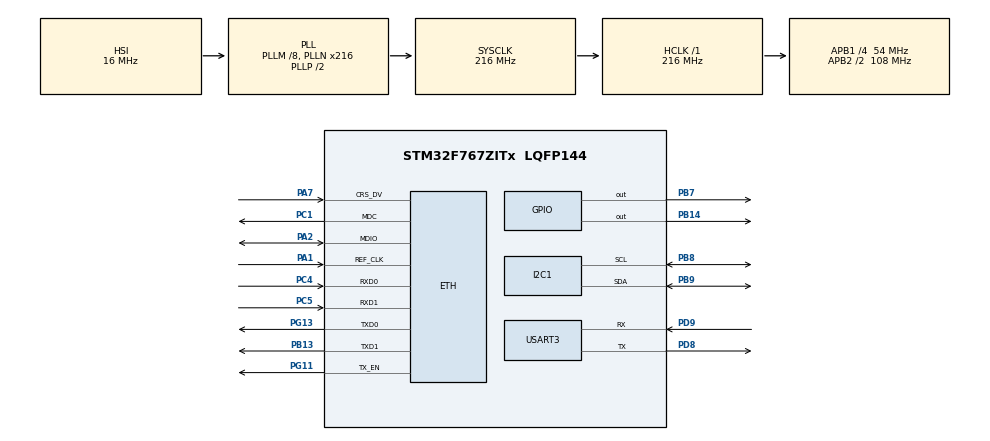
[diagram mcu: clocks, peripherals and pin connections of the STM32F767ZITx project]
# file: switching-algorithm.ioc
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CORTEX_M7.CPU_DCache=Disabled
CORTEX_M7.CPU_ICache=Disabled
CORTEX_M7.default_mode_Activation=1
Dma.I2C1_RX.0.Direction=DMA_PERIPH_TO_MEMORY
Dma.I2C1_RX.0.FIFOMode=DMA_FIFOMODE_DISABLE
Dma.I2C1_RX.0.Instance=DMA1_Stream0
Dma.I2C1_RX.0.MemDataAlignment=DMA_MDATAALIGN_BYTE
Dma.I2C1_RX.0.MemInc=DMA_MINC_ENABLE
Dma.I2C1_RX.0.Mode=DMA_NORMAL
Dma.I2C1_RX.0.PeriphDataAlignment=DMA_PDATAALIGN_BYTE
Dma.I2C1_RX.0.PeriphInc=DMA_PINC_DISABLE
Dma.I2C1_RX.0.Priority=DMA_PRIORITY_LOW
Dma.I2C1_TX.1.Direction=DMA_MEMORY_TO_PERIPH
Dma.I2C1_TX.1.FIFOMode=DMA_FIFOMODE_DISABLE
Dma.I2C1_TX.1.Instance=DMA1_Stream6
Dma.I2C1_TX.1.MemDataAlignment=DMA_MDATAALIGN_BYTE
Dma.I2C1_TX.1.MemInc=DMA_MINC_ENABLE
Dma.I2C1_TX.1.Mode=DMA_NORMAL
Dma.I2C1_TX.1.PeriphDataAlignment=DMA_PDATAALIGN_BYTE
Dma.I2C1_TX.1.PeriphInc=DMA_PINC_DISABLE
Dma.I2C1_TX.1.Priority=DMA_PRIORITY_LOW
Dma.Request0=I2C1_RX
Dma.Request1=I2C1_TX
ETH.MediaInterface=HAL_ETH_RMII_MODE
FREERTOS.Tasks01=defaultTask,2,256,StartDefaultTask,Default,NULL,Dynamic,NULL,NULL;eth_task,-1,1024,eth_taskENTRY,Default,NULL,Dynamic,NULL,NULL
FREERTOS.configTOTAL_HEAP_SIZE=32000
I2C1.Timing=0x20404768
LWIP.BSP.number=1
LWIP.IP_ADDRESS=192.168.000.010
LWIP.LWIP_COMPAT_SOCKETS=0
LWIP.LWIP_DHCP=0
LWIP.LWIP_STATS=1
LWIP.LWIP_STATS_DISPLAY=1
LWIP.NETMASK_ADDRESS=255.255.255.000
LWIP.Version=v2.1.2_Cube
LWIP0.BSP.STBoard=false
LWIP0.BSP.api=BSP_COMPONENT_DRIVER
LWIP0.BSP.component=LAN8742
LWIP0.BSP.instance=LAN8742
LWIP0.BSP.name=Driver_PHY
LWIP0.BSP.semaphore=S_LAN8742
LWIP0.BSP.solution=LAN8742
Mcu.Family=STM32F7
Mcu.Name=STM32F767ZITx
Mcu.Package=LQFP144
NVIC.DMA1_Stream0_IRQn=true\:5\:0\:false\:false\:true\:true\:false\:true\:true
NVIC.DMA1_Stream6_IRQn=true\:5\:0\:false\:false\:true\:true\:false\:true\:true
NVIC.ETH_IRQn=true\:5\:0\:false\:false\:true\:true\:true\:true\:true
NVIC.I2C1_ER_IRQn=true\:5\:0\:false\:false\:true\:true\:true\:true\:true
NVIC.I2C1_EV_IRQn=true\:5\:0\:false\:false\:true\:true\:true\:true\:true
NVIC.PriorityGroup=NVIC_PRIORITYGROUP_4
NVIC.TIM1_UP_TIM10_IRQn=true\:15\:0\:false\:false\:true\:false\:false\:true\:true
NVIC.TimeBase=TIM1_UP_TIM10_IRQn
NVIC.TimeBaseIP=TIM1
PA1.Mode=RMII
PA1.Signal=ETH_REF_CLK
PA2.Mode=RMII
PA2.Signal=ETH_MDIO
PA7.Mode=RMII
PA7.Signal=ETH_CRS_DV
PB13.Mode=RMII
PB13.Signal=ETH_TXD1
PB14.Signal=GPIO_Output
PB7.Signal=GPIO_Output
PB8.GPIO_Pu=GPIO_PULLUP
PB8.Mode=I2C
PB8.Signal=I2C1_SCL
PB9.GPIO_Pu=GPIO_PULLUP
PB9.Mode=I2C
PB9.Signal=I2C1_SDA
PC1.Mode=RMII
PC1.Signal=ETH_MDC
PC4.Mode=RMII
PC4.Signal=ETH_RXD0
PC5.Mode=RMII
PC5.Signal=ETH_RXD1
PD8.Mode=Asynchronous
PD8.Signal=USART3_TX
PD9.Mode=Asynchronous
PD9.Signal=USART3_RX
PG11.Mode=RMII
PG11.Signal=ETH_TX_EN
PG13.Mode=RMII
PG13.Signal=ETH_TXD0
PH0/OSC_IN.Mode=HSE-External-Clock-Source
PH0/OSC_IN.Signal=RCC_OSC_IN
PH1/OSC_OUT.Mode=HSE-External-Clock-Source
PH1/OSC_OUT.Signal=RCC_OSC_OUT
ProjectManager.HeapSize=0x200
ProjectManager.StackSize=0x400
ProjectManager.TargetToolchain=STM32CubeIDE
RCC.AHBFreq_Value=216000000
RCC.APB1CLKDivider=RCC_HCLK_DIV4
RCC.APB1Freq_Value=54000000
RCC.APB1TimFreq_Value=108000000
RCC.APB2CLKDivider=RCC_HCLK_DIV2
RCC.APB2Freq_Value=108000000
RCC.APB2TimFreq_Value=216000000
RCC.CortexFreq_Value=216000000
RCC.HCLKFreq_Value=216000000
RCC.HSE_VALUE=25000000
RCC.HSI_VALUE=16000000
RCC.LSE_VALUE=32768
RCC.PLLM=8
RCC.PLLN=216
RCC.SYSCLKFreq_VALUE=216000000
RCC.SYSCLKSource=RCC_SYSCLKSOURCE_PLLCLK
RCC.USBFreq_Value=216000000
RCC.VCOOutputFreq_Value=432000000
USART3.VirtualMode-Asynchronous=VM_ASYNC
VP_FREERTOS_VS_CMSIS_V1.Mode=CMSIS_V1
VP_LWIP_VS_Enabled.Mode=Enabled
VP_SYS_VS_tim1.Mode=TIM1
board=custom

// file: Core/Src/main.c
/* USER CODE BEGIN Header */
/**
  ******************************************************************************
  * @file           : main.c
  * @brief          : Main program body
  ******************************************************************************
  */
/* USER CODE END Header */
#include "main.h"
#include "cmsis_os.h"
#include "lwip.h"

/* USER CODE BEGIN Includes */
#include "lwip/sockets.h"
#include "lwip/netdb.h"
#include "lwip/opt.h"
#include "lwip/sys.h"
#include "lwip/stats.h"
#include "lwip/udp.h"
#include "d_decision.h"
#include <stdio.h>
#include <string.h>
#include "drv_bt.h"
#include "com_int.h"
#include "d_decision.h"
#include "link_types.h"
#include "drv_rs485.h"
#include "eth_parser.h"
#include "eth_metrics.h"
#include "eth_rx_types.h"
#include "lwip/netif.h"
#include "lwip/ip4_addr.h"
extern struct netif gnetif;
/* USER CODE END Includes */

/* USER CODE BEGIN PD */
extern ETH_DMADescTypeDef DMARxDscrTab[ETH_RXBUFNB];
extern ETH_DMADescTypeDef DMATxDscrTab[ETH_TXBUFNB];
extern ETH_HandleTypeDef heth;
extern ComInterface_t EthernetInterface;

/* USER CODE END PD */

/* USER CODE BEGIN PM */
static uint8_t i2c_rx_buf[32];
/* USER CODE END PM */

static osThreadId g_i2c_task_handle = NULL;
I2C_HandleTypeDef hi2c1;
DMA_HandleTypeDef hdma_i2c1_rx;
DMA_HandleTypeDef hdma_i2c1_tx;

UART_HandleTypeDef huart3;

osThreadId defaultTaskHandle;
osThreadId eth_taskHandle;
/* USER CODE BEGIN PV */
static uint8_t g_rs485_ready = 0U;
static struct udp_pcb *g_rx_pcb = NULL;
static volatile uint8_t g_i2c_rx_done = 0;
static volatile uint16_t i2c_rx_buf_len = 0;
static rx_metrics_t g_rx_direct;
static rx_metrics_t g_rx_plc;
static rx_metrics_t g_rx_bt;
static rx_metrics_t g_rx_rs485;
link_info_t g_links[DECISION_MAX_LINKS];
decision_config_t g_decision_cfg;
decision_result_t g_last_decision;
osThreadId rs_taskHandle;

rs485_if_t g_rs485;
static link_type_t g_active_link = LINK_ETH_DIRECT;
static uint32_t g_last_switch_tick = 0U;

/* USER CODE END PV */

void SystemClock_Config(void);
static void MPU_Config(void);
static void MX_GPIO_Init(void);
static void MX_DMA_Init(void);
static void MX_USART3_UART_Init(void);
static void MX_I2C1_Init(void);
void StartDefaultTask(void const * argument);
void eth_taskENTRY(void const * argument);

/* USER CODE BEGIN PFP */
static void App_UpdateRsStub(uint8_t eth_ok);
static const char *App_LinkTypeToStr(link_type_t type);
static void App_InitLinks(void);
static void App_InitDecisionConfig(void);
static link_info_t *App_GetLink(link_type_t type);
static void App_RunDecision(void);

static void App_UpdateBtLink(void);
static void App_UpdateRsStub(uint8_t eth_ok);
static void MX_ETH_Init(void);
void rs_taskENTRY(void const * argument);

static void App_InitRs485Placeholder(void);
static void App_UpdateRsPath(uint8_t eth_ok);

static void Eth_RxInit(void);
static void Eth_UdpRecvCallback(void *arg,
                                struct udp_pcb *pcb,
                                struct pbuf *p,
                                const ip_addr_t *addr,
                                u16_t port);

static rx_metrics_t *Eth_GetMetricsByPath(uint8_t path_id);
static link_type_t Eth_GetLinkTypeByPath(uint8_t path_id);
/* USER CODE END PFP */

/* USER CODE BEGIN 0 */

#ifdef __GNUC__
#define PUTCHAR_PROTOTYPE int __io_putchar(int ch)
#else
#define PUTCHAR_PROTOTYPE int fputc(int ch, FILE *f)
#endif
static void App_PrintNetifInfo(void)
{
    const ip4_addr_t *ip = netif_ip4_addr(&gnetif);
    const ip4_addr_t *nm = netif_ip4_netmask(&gnetif);
    const ip4_addr_t *gw = netif_ip4_gw(&gnetif);

    char ip_str[16];
    char nm_str[16];
    char gw_str[16];

    ip4addr_ntoa_r(ip, ip_str, sizeof(ip_str));
    ip4addr_ntoa_r(nm, nm_str, sizeof(nm_str));
    ip4addr_ntoa_r(gw, gw_str, sizeof(gw_str));

    printf("[LWIP_INIT] IP=%s MASK=%s GW=%s\r\n", ip_str, nm_str, gw_str);
}
PUTCHAR_PROTOTYPE
{
    HAL_UART_Transmit(&huart3, (uint8_t *)&ch, 1, 0xFFFF);
    return ch;
}

static rx_metrics_t *Eth_GetMetricsByPath(uint8_t path_id)
{
    switch ((path_id_t)path_id)
    {
        case PATH_ETH_DIRECT: return &g_rx_direct;
        case PATH_ETH_PLC:    return &g_rx_plc;
        case PATH_BT:         return &g_rx_bt;
        case PATH_RS485:      return &g_rx_rs485;
        default:              return NULL;
    }
}

static link_type_t Eth_GetLinkTypeByPath(uint8_t path_id)
{
    switch ((path_id_t)path_id)
    {
        case PATH_ETH_DIRECT: return LINK_ETH_DIRECT;
        case PATH_ETH_PLC:    return LINK_ETH_PLC;
        case PATH_BT:         return LINK_BLUETOOTH;
        case PATH_RS485:      return LINK_RS485;
        default:              return LINK_NONE;
    }
}

static void I2C_BusProbe(void)
{
    GPIO_InitTypeDef g = {0};
    __HAL_RCC_GPIOB_CLK_ENABLE();

    /* Test 1: pull-down — externý pull-up to prekoná ak existuje */
    g.Pin  = GPIO_PIN_8 | GPIO_PIN_9;
    g.Mode = GPIO_MODE_INPUT;
    g.Pull = GPIO_PULLDOWN;
    HAL_GPIO_Init(GPIOB, &g);
    HAL_Delay(10);
    uint8_t scl_pd = HAL_GPIO_ReadPin(GPIOB, GPIO_PIN_8);
    uint8_t sda_pd = HAL_GPIO_ReadPin(GPIOB, GPIO_PIN_9);

    /* Test 2: pull-up — ak externý GND drží linie, uvidíš 0 */
    g.Pull = GPIO_PULLUP;
    HAL_GPIO_Init(GPIOB, &g);
    HAL_Delay(10);
    uint8_t scl_pu = HAL_GPIO_ReadPin(GPIOB, GPIO_PIN_8);
    uint8_t sda_pu = HAL_GPIO_ReadPin(GPIOB, GPIO_PIN_9);

    printf("[BUS_PROBE] PULLDOWN: SCL=%u SDA=%u\r\n", scl_pd, sda_pd);
    printf("[BUS_PROBE] PULLUP:   SCL=%u SDA=%u\r\n", scl_pu, sda_pu);

    /* Vrat na AF4 */
    g.Mode      = GPIO_MODE_AF_OD;
    g.Pull      = GPIO_NOPULL;
    g.Alternate = GPIO_AF4_I2C1;
    HAL_GPIO_Init(GPIOB, &g);
}

static void Eth_RxInit(void)
{
    err_t err;

    Metrics_Reset(&g_rx_direct);
    Metrics_Reset(&g_rx_plc);
    Metrics_Reset(&g_rx_bt);
    Metrics_Reset(&g_rx_rs485);

    g_rx_pcb = udp_new();
    if (g_rx_pcb == NULL)
    {
        printf("[RX] udp_new failed\r\n");
        return;
    }

    err = udp_bind(g_rx_pcb, IP_ADDR_ANY, 5005);
    if (err != ERR_OK)
    {
        printf("[RX] udp_bind failed: %d\r\n", (int)err);
        udp_remove(g_rx_pcb);
        g_rx_pcb = NULL;
        return;
    }

    udp_recv(g_rx_pcb, Eth_UdpRecvCallback, NULL);
    printf("[RX] UDP receiver ready on port 5005\r\n");
}

static void F7_I2C_SlavePoll(void)
{
  HAL_StatusTypeDef ret;

  ret = HAL_I2C_Slave_Receive(&hi2c1, i2c_rx_buf, 12, 100);

  if (ret == HAL_OK)
  {
    char msg[128];
    int n = snprintf(msg, sizeof(msg),
                     "I2C RX: %02X %02X %02X %02X %02X %02X %02X %02X %02X %02X %02X %02X\r\n",
                     i2c_rx_buf[0], i2c_rx_buf[1], i2c_rx_buf[2], i2c_rx_buf[3],
                     i2c_rx_buf[4], i2c_rx_buf[5], i2c_rx_buf[6], i2c_rx_buf[7],
                     i2c_rx_buf[8], i2c_rx_buf[9], i2c_rx_buf[10], i2c_rx_buf[11]);

    HAL_UART_Transmit(&huart3, (uint8_t *)msg, n, HAL_MAX_DELAY);
  }
  else
  {
    uint32_t err = HAL_I2C_GetError(&hi2c1);
    printf("[F7 I2C] recv err: ret=%d err=0x%08lX\r\n", ret, (unsigned long)err);
  }
}
static void F7_ReadSCL(void)
{
    GPIO_InitTypeDef g = {0};
    __HAL_RCC_GPIOB_CLK_ENABLE();

    g.Pin  = GPIO_PIN_8;
    g.Mode = GPIO_MODE_INPUT;
    g.Pull = GPIO_PULLDOWN;
    HAL_GPIO_Init(GPIOB, &g);

    for (int i = 0; i < 20; i++)
    {
        printf("[F7] PB8=%u\r\n", HAL_GPIO_ReadPin(GPIOB, GPIO_PIN_8));
        HAL_Delay(200);
    }

    g.Mode      = GPIO_MODE_AF_OD;
    g.Pull      = GPIO_NOPULL;
    g.Alternate = GPIO_AF4_I2C1;
    HAL_GPIO_Init(GPIOB, &g);
}
/* USER CODE END 0 */
void I2C_SlaveIT_Start(void)
{
    HAL_StatusTypeDef ret = HAL_I2C_Slave_Receive_IT(&hi2c1, i2c_rx_buf, 12);
    // Manuálne enable address match interrupt
    I2C1->CR1 |= I2C_CR1_ADDRIE;
    char msg[48];
    int n = snprintf(msg, sizeof(msg), "[I2C] Start ret=%d CR1=0x%08lX\r\n",
                     ret, (unsigned long)I2C1->CR1);
    HAL_UART_Transmit(&huart3, (uint8_t*)msg, n, 1000);
}
int main(void)
{

  /* MPU Configuration--------------------------------------------------------*/
  MPU_Config();

  /* MCU Configuration--------------------------------------------------------*/

  /* Reset of all peripherals, Initializes the Flash interface and the Systick. */
  HAL_Init();

  /* USER CODE BEGIN Init */
  __HAL_RCC_ETH_CLK_ENABLE();
  __HAL_RCC_ETHMAC_FORCE_RESET();
  HAL_Delay(100);
  __HAL_RCC_ETHMAC_RELEASE_RESET();
  HAL_Delay(100);
  /* USER CODE END Init */

  /* Configure the system clock */
  SystemClock_Config();

  /* Initialize all configured peripherals */
  MX_GPIO_Init();
  MX_DMA_Init();
  MX_USART3_UART_Init();

  I2C_BusProbe();
  MX_I2C1_Init();
  uint32_t oar1 = I2C1->OAR1;
   printf("[F7] OAR1 register = 0x%08lX\r\n", (unsigned long)oar1);

  printf("[F7] OwnAddress1=0x%02lX\r\n", (unsigned long)hi2c1.Init.OwnAddress1);
  /* USER CODE BEGIN 2 */
  MX_ETH_Init();
  App_InitLinks();
  App_InitDecisionConfig();
  App_InitRs485Placeholder();

  printf("Halo, zijem!\r\n");
  printf("[APP] Decision system initialized\r\n");

  /* USER CODE END 2 */

  /* Create the thread(s) */
  /* definition and creation of defaultTask */
  osThreadDef(defaultTask, StartDefaultTask, osPriorityHigh, 0, 256);
  defaultTaskHandle = osThreadCreate(osThread(defaultTask), NULL);

  /* definition and creation of eth_task */
  osThreadDef(eth_task, eth_taskENTRY, osPriorityBelowNormal, 0, 1024);
  eth_taskHandle = osThreadCreate(osThread(eth_task), NULL);
  osThreadDef(rs_task, rs_taskENTRY, osPriorityNormal, 0, 1024);
  rs_taskHandle = osThreadCreate(osThread(rs_task), NULL);

  /* Start scheduler */
  osKernelStart();

  /* We should never get here as control is now taken by the scheduler */

  /* Infinite loop */
  while (1)
  {

  }
}

void SystemClock_Config(void)
{
  RCC_OscInitTypeDef RCC_OscInitStruct = {0};
  RCC_ClkInitTypeDef RCC_ClkInitStruct = {0};

  /** Configure the main internal regulator output voltage
  */
  __HAL_RCC_PWR_CLK_ENABLE();
  __HAL_PWR_VOLTAGESCALING_CONFIG(PWR_REGULATOR_VOLTAGE_SCALE1);

  /** Initializes the RCC Oscillators according to the specified parameters
  * in the RCC_OscInitTypeDef structure.
  */
  RCC_OscInitStruct.OscillatorType = RCC_OSCILLATORTYPE_HSI;
  RCC_OscInitStruct.HSIState = RCC_HSI_ON;
  RCC_OscInitStruct.HSICalibrationValue = RCC_HSICALIBRATION_DEFAULT;
  RCC_OscInitStruct.PLL.PLLState = RCC_PLL_ON;
  RCC_OscInitStruct.PLL.PLLSource = RCC_PLLSOURCE_HSI;
  RCC_OscInitStruct.PLL.PLLM = 8;
  RCC_OscInitStruct.PLL.PLLN = 216;
  RCC_OscInitStruct.PLL.PLLP = RCC_PLLP_DIV2;
  RCC_OscInitStruct.PLL.PLLQ = 2;
  RCC_OscInitStruct.PLL.PLLR = 2;
  if (HAL_RCC_OscConfig(&RCC_OscInitStruct) != HAL_OK)
  {
    Error_Handler();
  }

  /** Activate the Over-Drive mode
  */
  if (HAL_PWREx_EnableOverDrive() != HAL_OK)
  {
    Error_Handler();
  }

  /** Initializes the CPU, AHB and APB buses clocks
  */
  RCC_ClkInitStruct.ClockType = RCC_CLOCKTYPE_HCLK|RCC_CLOCKTYPE_SYSCLK
                              |RCC_CLOCKTYPE_PCLK1|RCC_CLOCKTYPE_PCLK2;
  RCC_ClkInitStruct.SYSCLKSource = RCC_SYSCLKSOURCE_PLLCLK;
  RCC_ClkInitStruct.AHBCLKDivider = RCC_SYSCLK_DIV1;
  RCC_ClkInitStruct.APB1CLKDivider = RCC_HCLK_DIV4;
  RCC_ClkInitStruct.APB2CLKDivider = RCC_HCLK_DIV2;

  if (HAL_RCC_ClockConfig(&RCC_ClkInitStruct, FLASH_LATENCY_7) != HAL_OK)
  {
    Error_Handler();
  }
}

static void MX_I2C1_Init(void)
{

  hi2c1.Instance = I2C1;
  hi2c1.Init.Timing = 0x10909CEC;
  hi2c1.Init.OwnAddress1 = 0x24;
  hi2c1.Init.AddressingMode = I2C_ADDRESSINGMODE_7BIT;
  hi2c1.Init.DualAddressMode = I2C_DUALADDRESS_DISABLE;
  hi2c1.Init.OwnAddress2 = 0;
  hi2c1.Init.OwnAddress2Masks = I2C_OA2_NOMASK;
  hi2c1.Init.GeneralCallMode = I2C_GENERALCALL_DISABLE;
  hi2c1.Init.NoStretchMode = I2C_NOSTRETCH_DISABLE;
  if (HAL_I2C_Init(&hi2c1) != HAL_OK)
  {
    Error_Handler();
  }
  HAL_NVIC_SetPriority(I2C1_EV_IRQn, 6, 0);
  HAL_NVIC_EnableIRQ(I2C1_EV_IRQn);
  HAL_NVIC_SetPriority(I2C1_ER_IRQn, 6, 0);
  HAL_NVIC_EnableIRQ(I2C1_ER_IRQn);
  /** Configure Analogue filter
  */
  if (HAL_I2CEx_ConfigAnalogFilter(&hi2c1, I2C_ANALOGFILTER_ENABLE) != HAL_OK)
  {
    Error_Handler();
  }

  /** Configure Digital filter
  */
  if (HAL_I2CEx_ConfigDigitalFilter(&hi2c1, 0) != HAL_OK)
  {
    Error_Handler();
  }
  /* USER CODE BEGIN I2C1_Init 2 */
  printf("[F7] I2C OwnAddress1=0x%02lX\r\n", (unsigned long)hi2c1.Init.OwnAddress1);
  /* USER CODE END I2C1_Init 2 */

}

static void MX_USART3_UART_Init(void)
{

  huart3.Instance = USART3;
  huart3.Init.BaudRate = 115200;
  huart3.Init.WordLength = UART_WORDLENGTH_8B;
  huart3.Init.StopBits = UART_STOPBITS_1;
  huart3.Init.Parity = UART_PARITY_NONE;
  huart3.Init.Mode = UART_MODE_TX_RX;
  huart3.Init.HwFlowCtl = UART_HWCONTROL_NONE;
  huart3.Init.OverSampling = UART_OVERSAMPLING_16;
  huart3.Init.OneBitSampling = UART_ONE_BIT_SAMPLE_DISABLE;
  huart3.AdvancedInit.AdvFeatureInit = UART_ADVFEATURE_NO_INIT;
  if (HAL_UART_Init(&huart3) != HAL_OK)
  {
    Error_Handler();
  }

}

static void MX_DMA_Init(void)
{

  /* DMA controller clock enable */
  __HAL_RCC_DMA1_CLK_ENABLE();

  /* DMA interrupt init */
  /* DMA1_Stream0_IRQn interrupt configuration */
  HAL_NVIC_SetPriority(DMA1_Stream0_IRQn, 5, 0);
  HAL_NVIC_EnableIRQ(DMA1_Stream0_IRQn);
  /* DMA1_Stream6_IRQn interrupt configuration */
  HAL_NVIC_SetPriority(DMA1_Stream6_IRQn, 5, 0);
  HAL_NVIC_EnableIRQ(DMA1_Stream6_IRQn);

}

static void MX_GPIO_Init(void)
{
  GPIO_InitTypeDef GPIO_InitStruct = {0};

  /* GPIO Ports Clock Enable */
  __HAL_RCC_GPIOH_CLK_ENABLE();
  __HAL_RCC_GPIOC_CLK_ENABLE();
  __HAL_RCC_GPIOA_CLK_ENABLE();
  __HAL_RCC_GPIOB_CLK_ENABLE();
  __HAL_RCC_GPIOD_CLK_ENABLE();
  __HAL_RCC_GPIOG_CLK_ENABLE();

  /*Configure GPIO pin Output Level */
  HAL_GPIO_WritePin(GPIOB, GPIO_PIN_14|GPIO_PIN_7, GPIO_PIN_RESET);

  /*Configure GPIO pins : PB14 PB7 */
  GPIO_InitStruct.Pin = GPIO_PIN_14|GPIO_PIN_7;
  GPIO_InitStruct.Mode = GPIO_MODE_OUTPUT_PP;
  GPIO_InitStruct.Pull = GPIO_NOPULL;
  GPIO_InitStruct.Speed = GPIO_SPEED_FREQ_LOW;
  HAL_GPIO_Init(GPIOB, &GPIO_InitStruct);

}

/* USER CODE BEGIN 4 */

static void App_UpdateBtLink(void)
{
    bt_i2c_metrics_t btm;
    link_info_t *bt_link = App_GetLink(LINK_BLUETOOTH);

    if (bt_link == NULL)
        return;

    bt_link->enabled = true;
    bt_link->metrics.security_ok = true;

    if (BT_I2C_ReadMetrics(&btm) != HAL_OK)
    {
        printf("[BT] I2C read FAILED\r\n");
        bt_link->state = LINK_STATE_DOWN;
        bt_link->metrics.measurement_valid = false;
        bt_link->metrics.packet_loss_permille = 1000U;
        bt_link->metrics.jitter_ms = 0U;
        bt_link->metrics.delay_ms = 1000U;
        bt_link->metrics.signal_dbm = -128;
        return;
    }

    printf("[BT_RAW] avail=%u rssi=%d loss=%u rtt=%u jitter=%u\r\n",
           (unsigned)btm.available,
           (int)btm.rssi,
           (unsigned)btm.pkt_error_rate,
           (unsigned)btm.delay_ms,
           (unsigned)btm.jitter_ms);

    bt_link->metrics.measurement_valid = (btm.available != 0U);
    bt_link->metrics.signal_dbm = btm.rssi;

    if (btm.pkt_error_rate > 1000U)
        btm.pkt_error_rate = 1000U;

    bt_link->metrics.packet_loss_permille = btm.pkt_error_rate;

    if (btm.available)
    {
        bt_link->state = LINK_STATE_UP;
        bt_link->metrics.delay_ms    = btm.delay_ms;
        bt_link->metrics.jitter_ms = btm.jitter_ms;
    }
    else
    {
        bt_link->state = LINK_STATE_DOWN;
        bt_link->metrics.delay_ms = 1000U;
        bt_link->metrics.jitter_ms = 0U;
    }

    printf("[BT_LINK] valid=%u state=%d rtt=%lu loss=%lu jitter=%lu signal=%d\r\n",
           (unsigned)bt_link->metrics.measurement_valid,
           bt_link->state,
           (unsigned long)bt_link->metrics.delay_ms,
           (unsigned long)bt_link->metrics.packet_loss_permille,
           (unsigned long)bt_link->metrics.jitter_ms,
           (int)bt_link->metrics.signal_dbm);
}
static void App_UpdateEthLinkHealth(void)
{
    uint32_t now = HAL_GetTick();
    const uint32_t timeout_ms = 2000U;

    link_info_t *eth_direct = App_GetLink(LINK_ETH_DIRECT);
    link_info_t *eth_plc = App_GetLink(LINK_ETH_PLC);

    Metrics_Age(&g_rx_direct, now, timeout_ms);
    Metrics_Age(&g_rx_plc, now, timeout_ms);

    Metrics_ApplyToLink(eth_direct, &g_rx_direct);
    Metrics_ApplyToLink(eth_plc, &g_rx_plc);

    if (Metrics_IsTimedOut(&g_rx_direct, now, timeout_ms) && (eth_direct != NULL))
    {
        eth_direct->state = LINK_STATE_DOWN;
        eth_direct->metrics.measurement_valid = false;
        eth_direct->metrics.packet_loss_permille = 1000U;
        eth_direct->metrics.jitter_ms = 0U;
        eth_direct->metrics.delay_ms = 1000U;
    }

    if (Metrics_IsTimedOut(&g_rx_plc, now, timeout_ms) && (eth_plc != NULL))
    {
        eth_plc->state = LINK_STATE_DOWN;
        eth_plc->metrics.measurement_valid = false;
        eth_plc->metrics.packet_loss_permille = 1000U;
        eth_plc->metrics.jitter_ms = 0U;
        eth_plc->metrics.delay_ms = 1000U;
    }
}
static void Eth_UdpRecvCallback(void *arg,
                                struct udp_pcb *pcb,
                                struct pbuf *p,
                                const ip_addr_t *addr,
                                u16_t port)
{
    (void)arg;
    (void)pcb;
    (void)addr;
    (void)port;

    if (p == NULL)
        return;

    printf("[RX_RAW] got UDP len=%u\r\n", (unsigned int)p->tot_len);

    if ((p->payload != NULL) && (p->len > 0U))
    {
        generic_frame_info_t frame;
        uint32_t now_ms = HAL_GetTick();

        if (Generic_ParseFrame((const uint8_t *)p->payload, p->len, &frame))
        {
            rx_metrics_t *metrics = Eth_GetMetricsByPath(frame.path_id);
            link_type_t link_type = Eth_GetLinkTypeByPath(frame.path_id);
            link_info_t *link = App_GetLink(link_type);

            if ((metrics != NULL) && (link != NULL))
            {
                printf("[DBG] seq=%lu tx=%lu now=%lu diff=%ld\r\n",
                       (unsigned long)frame.seq,
                       (unsigned long)frame.tx_ts_ms,
                       (unsigned long)now_ms,
                       (long)((int32_t)(now_ms - frame.tx_ts_ms)));

                Metrics_OnFrameReceived(metrics, &frame, now_ms);
                Metrics_ApplyToLink(link, metrics);

                printf("[RX] path=%u seq=%lu len=%lu raw_diff=%ld ms delay=%lu ms loss=%lu permille jitter=%lu ms tp=%lu bps\r\n",
                       (unsigned int)frame.path_id,
                       (unsigned long)frame.seq,
                       (unsigned long)frame.payload_len,
                       (long)metrics->delay_raw_ms,
                       (unsigned long)metrics->delay_rel_ms,
                       (unsigned long)link->metrics.packet_loss_permille,
                       (unsigned long)Metrics_GetJitterMs(metrics),
                       (unsigned long)Metrics_GetThroughputBps(metrics));
                /* <<< TOTO JE PRE LOGGER >>> */
                printf("CSV,%lu,%u,%lu,%lu,%lu,%lu,%lu\r\n",
                       (unsigned long)now_ms,
                       (unsigned int)frame.path_id,
                       (unsigned long)Metrics_GetDelayRelMs(metrics),
                       (unsigned long)link->metrics.packet_loss_permille,
                       (unsigned long)Metrics_GetJitterMs(metrics),
                       (unsigned long)Metrics_GetThroughputBps(metrics),
                       (unsigned long)frame.seq);
                printf("[RX_SRC] src=%s:%u path=%u seq=%lu\r\n",
                       ipaddr_ntoa(addr),
                       (unsigned)port,
                       (unsigned)frame.path_id,
                       (unsigned long)frame.seq);

                App_RunDecision();
            }
            else
            {
                printf("[RX] unknown path_id=%u\r\n", (unsigned int)frame.path_id);
            }
        }
        else
        {
            printf("[RX] parse failed, len=%u\r\n", (unsigned int)p->len);
        }
    }

    pbuf_free(p);
}
static void App_InitRs485Placeholder(void)
{
    (void)g_rs485;
    g_rs485_ready = 0U;
    printf("[RS485] Placeholder mode active\r\n");
}

static void App_MaybeHardResetEthMetrics(uint32_t now_ms)
{
    const uint32_t hard_reset_timeout_ms = 10000U; // napr. 10 s bez framov

    if (Metrics_IsTimedOut(&g_rx_direct, now_ms, hard_reset_timeout_ms)) {
        Metrics_Reset(&g_rx_direct);
    }
    if (Metrics_IsTimedOut(&g_rx_plc, now_ms, hard_reset_timeout_ms)) {
        Metrics_Reset(&g_rx_plc);
    }
}

static void App_UpdateRsPath(uint8_t eth_ok)
{
    if (g_rs485_ready)
    {
        /* Neskôr sem pôjde reálny RS485 update */
        App_UpdateRsStub(eth_ok);
    }
    else
    {
        App_UpdateRsStub(eth_ok);
    }
}

static void MX_ETH_Init(void)
{
    heth.Instance = ETH;
    heth.Init.MACAddr = (uint8_t *)"0080E1";
    heth.Init.MediaInterface = HAL_ETH_RMII_MODE;
    heth.Init.TxDesc = DMATxDscrTab;
    heth.Init.RxDesc = DMARxDscrTab;
    heth.Init.RxBuffLen = 1524;

    if (HAL_ETH_Init(&heth) != HAL_OK)
    {
        printf("ETH Hardware Error!\r\n");
    }
}

static const char *App_LinkTypeToStr(link_type_t type)
{
    switch (type)
    {
        case LINK_BLUETOOTH:  return "BT";
        case LINK_ETH_DIRECT: return "ETH_DIRECT";
        case LINK_ETH_PLC:    return "ETH_PLC";
        case LINK_RS485:      return "RS485";
        default:              return "UNKNOWN";
    }
}

static void App_InitLinks(void)
{
    memset(g_links, 0, sizeof(g_links));

    g_links[0].type = LINK_BLUETOOTH;
    g_links[0].enabled = true;
    g_links[0].state = LINK_STATE_DOWN;
    g_links[0].thresholds.max_loss_percent       = 30U;
    g_links[0].thresholds.threshold_loss_percent = 15U;
    g_links[0].thresholds.threshold_delay_ms       = 200U;
    g_links[0].thresholds.threshold_jitter_ms    = 50U;

    g_links[1].type = LINK_ETH_DIRECT;
    g_links[1].enabled = true;
    g_links[1].state = LINK_STATE_DOWN;
    g_links[1].thresholds.max_loss_percent       = 5U;
    g_links[1].thresholds.threshold_loss_percent = 2U;
    g_links[1].thresholds.threshold_delay_ms       = 50U;
    g_links[1].thresholds.threshold_jitter_ms    = 10U;

    g_links[2].type = LINK_ETH_PLC;
    g_links[2].enabled = true;
    g_links[2].state = LINK_STATE_DOWN;
    g_links[2].thresholds.max_loss_percent       = 10U;
    g_links[2].thresholds.threshold_loss_percent = 5U;
    g_links[2].thresholds.threshold_delay_ms       = 100U;
    g_links[2].thresholds.threshold_jitter_ms    = 25U;

    g_links[3].type = LINK_RS485;
    g_links[3].enabled = true;
    g_links[3].state = LINK_STATE_DOWN;
    g_links[3].thresholds.max_loss_percent       = 10U;
    g_links[3].thresholds.threshold_loss_percent = 5U;
    g_links[3].thresholds.threshold_delay_ms       = 150U;
    g_links[3].thresholds.threshold_jitter_ms    = 30U;
}

static void App_InitDecisionConfig(void)
{
    g_decision_cfg.algorithm = DECISION_ALG_WEIGHTED_SCORE;
    g_decision_cfg.security_policy = SECURITY_PREFERRED;

    g_decision_cfg.max_delay_ms = 1000U;
    g_decision_cfg.max_jitter_ms = 300U;
    g_decision_cfg.max_loss_permille = 1000U;

    g_decision_cfg.weight_rtt = 5;
    g_decision_cfg.weight_jitter = 3;
    g_decision_cfg.weight_loss = 4;
    g_decision_cfg.weight_signal = 1;
    g_decision_cfg.weight_security = 2;

    g_decision_cfg.threshold_delay_ms = 300U;
    g_decision_cfg.threshold_jitter_ms = 100U;
    g_decision_cfg.threshold_loss_permille = 300U;

    g_decision_cfg.recovery_delay_ms = 150U;
    g_decision_cfg.recovery_jitter_ms = 50U;
    g_decision_cfg.recovery_loss_permille = 100U;

    g_decision_cfg.switch_hysteresis_score = 100;
    g_decision_cfg.min_switch_interval_ms = 1000U;
}
static link_info_t *App_GetLink(link_type_t type)
{
    for (uint32_t i = 0U; i < DECISION_MAX_LINKS; i++)
    {
        if (g_links[i].type == type)
            return &g_links[i];
    }

    return NULL;
}

static int32_t App_GetCurrentLinkScore(void)
{
    decision_result_t current_result;
    link_info_t *current_link = App_GetLink(g_active_link);

    if (current_link == NULL)
        return (-2147483647 - 1);

    current_result = decision_select_link(current_link, 1U, &g_decision_cfg);

    if (!current_result.valid)
        return (-2147483647 - 1);

    return current_result.selected_score;
}

static void App_RunDecision(void)
{
    uint32_t now = HAL_GetTick();
    decision_result_t candidate = decision_select_link(g_links, DECISION_MAX_LINKS, &g_decision_cfg);

    if (!candidate.valid)
    {
        printf("[DECISION] no valid link\r\n");
        return;
    }

    if (candidate.selected_link != g_active_link)
    {
        int32_t current_score = App_GetCurrentLinkScore();

        if (current_score == (-2147483647 - 1))
        {
            printf("[DECISION] current link invalid, switching to %s immediately\r\n",
                   App_LinkTypeToStr(candidate.selected_link));
        }
        else
        {
            int32_t score_diff = candidate.selected_score - current_score;

            if (score_diff < g_decision_cfg.switch_hysteresis_score)
            {
            	printf("[DECISION] hold current link (hysteresis), keep=%s\r\n",
            	       App_LinkTypeToStr(g_active_link));
                return;
            }

            if ((now - g_last_switch_tick) < g_decision_cfg.min_switch_interval_ms)
            {
                printf("[DECISION] hold current link (cooldown)\r\n");
                return;
            }
        }

        g_active_link = candidate.selected_link;
        g_last_switch_tick = now;
    }

    g_last_decision = candidate;

    printf("[LINKS] BT(rtt=%lu loss=%lu state=%d) | ETH_DIR(rtt=%lu loss=%lu state=%d) | "
           "ETH_PLC(rtt=%lu loss=%lu state=%d) | RS(rtt=%lu loss=%lu state=%d)\r\n",
           (unsigned long)g_links[0].metrics.delay_ms,
           (unsigned long)g_links[0].metrics.packet_loss_permille,
           g_links[0].state,
           (unsigned long)g_links[1].metrics.delay_ms,
           (unsigned long)g_links[1].metrics.packet_loss_permille,
           g_links[1].state,
           (unsigned long)g_links[2].metrics.delay_ms,
           (unsigned long)g_links[2].metrics.packet_loss_permille,
           g_links[2].state,
           (unsigned long)g_links[3].metrics.delay_ms,
           (unsigned long)g_links[3].metrics.packet_loss_permille,
           g_links[3].state);

    printf("[DECISION] active=%s score=%ld\r\n",
           App_LinkTypeToStr(g_active_link),
           (long)g_last_decision.selected_score);
}

static inline link_type_t PathIdToLinkType(path_id_t path)
{
    switch (path)
    {
        case PATH_ETH_DIRECT: return LINK_ETH_DIRECT;
        case PATH_ETH_PLC:    return LINK_ETH_PLC;
        case PATH_BT:         return LINK_BLUETOOTH;
        case PATH_RS485:      return LINK_RS485;
        default:              return LINK_NONE;
    }
}
static void App_UpdateRsStub(uint8_t eth_ok)
{
    link_info_t *rs_link = App_GetLink(LINK_RS485);

    if (rs_link == NULL)
        return;

    rs_link->enabled = true;
    rs_link->metrics.measurement_valid = true;
    rs_link->metrics.security_ok = true;

    if (eth_ok)
    {
        rs_link->state = LINK_STATE_UP;
        rs_link->metrics.delay_ms = 140U;
        rs_link->metrics.jitter_ms = 25U;
        rs_link->metrics.packet_loss_permille = 120U;
        rs_link->metrics.signal_dbm = 0;
    }
    else
    {
        rs_link->state = LINK_STATE_UP;
        rs_link->metrics.delay_ms = 70U;
        rs_link->metrics.jitter_ms = 10U;
        rs_link->metrics.packet_loss_permille = 20U;
        rs_link->metrics.signal_dbm = 0;
    }
}

void HAL_I2C_AddrCallback(I2C_HandleTypeDef *hi2c,
                          uint8_t TransferDirection,
                          uint16_t AddrMatchCode)
{
    (void)AddrMatchCode;
    if (hi2c->Instance != I2C1) return;

    if (TransferDirection == I2C_DIRECTION_TRANSMIT)
    {
        i2c_rx_buf_len = 12;  // ← pridaj toto
        HAL_I2C_Slave_Seq_Receive_IT(hi2c, i2c_rx_buf, 12, I2C_LAST_FRAME);
    }
}
void HAL_I2C_SlaveRxCpltCallback(I2C_HandleTypeDef *hi2c)
{
    if (hi2c->Instance != I2C1) return;
    g_i2c_rx_done = 1;

}

void HAL_I2C_ListenCpltCallback(I2C_HandleTypeDef *hi2c)
{
    if (hi2c->Instance != I2C1) return;
    HAL_I2C_EnableListen_IT(hi2c);
}

void HAL_I2C_ErrorCallback(I2C_HandleTypeDef *hi2c)
{
    if (hi2c->Instance != I2C1) return;
    printf("[I2C ERR] 0x%08lX\r\n", (unsigned long)HAL_I2C_GetError(hi2c));
    HAL_I2C_EnableListen_IT(hi2c);
}

/* USER CODE END 4 */

typedef struct __attribute__((packed))
{
    uint32_t seq;
    uint32_t tx_ts_ms;
    uint8_t  path_id;
    uint8_t  reserved[3];
} lab_test_hdr_t;

void rs_taskENTRY(void const * argument)
{
    g_i2c_task_handle = osThreadGetId();
    Metrics_Reset(&g_rx_bt);
    HAL_I2C_EnableListen_IT(&hi2c1);
    printf("[I2C TASK] started\r\n");

    static uint32_t bt_rx_count = 0U;
    static uint32_t last_fwd_seq = 0U;
    uint32_t last_rx_tick = 0U;

    for (;;)
    {
        if (g_i2c_rx_done)
        {
            g_i2c_rx_done = 0U;

            last_rx_tick = HAL_GetTick();
            bt_rx_count++;
            printf("[BT_COUNT] %lu\r\n", (unsigned long)bt_rx_count);

            if (i2c_rx_buf_len >= sizeof(lab_test_hdr_t))
            {
                const lab_test_hdr_t *hdr = (const lab_test_hdr_t *)i2c_rx_buf;
                uint32_t now_tick = HAL_GetTick();

                if ((hdr->seq < last_fwd_seq) && (last_fwd_seq > 100U))
                {
                    printf("[BT] server restart detected, resetting metrics\r\n");
                    Metrics_Reset(&g_rx_bt);
                }
                last_fwd_seq = hdr->seq;
                printf("[BT_HDR] seq=%lu path=%u len=%u\n",
                       (unsigned long)hdr->seq,
                       (unsigned)hdr->path_id,
                       (unsigned)i2c_rx_buf_len);
                generic_frame_info_t info;
                memset(&info, 0, sizeof(info));
                info.seq         = hdr->seq;
                info.tx_ts_ms    = 0U;
                info.payload_len = i2c_rx_buf_len;
                info.path_id     = PATH_BT;     /* natvrdo BT */
                info.has_tx_ts   = 0U;

                Metrics_OnFrameReceived(&g_rx_bt, &info, now_tick);
                Metrics_ApplyToLink(App_GetLink(LINK_BLUETOOTH), &g_rx_bt);

                {
                    link_info_t *bt_link = App_GetLink(LINK_BLUETOOTH);
                    if (bt_link != NULL)
                    {
                        printf("[BT_LINK_DBG] seq=%lu valid=%u state=%d delay=%lu loss=%lu jitter=%lu\r\n",
                               (unsigned long)hdr->seq,
                               (unsigned)bt_link->metrics.measurement_valid,
                               bt_link->state,
                               (unsigned long)bt_link->metrics.delay_ms,
                               (unsigned long)bt_link->metrics.packet_loss_permille,
                               (unsigned long)bt_link->metrics.jitter_ms);
                    }
                }

                App_RunDecision();
            }
            else
            {
                printf("[BT] short frame len=%u\r\n", (unsigned)i2c_rx_buf_len);
            }
        }

        if ((HAL_GetTick() - last_rx_tick) > 2000U)
        {
            last_rx_tick = HAL_GetTick();
            HAL_I2C_EnableListen_IT(&hi2c1);
        }

        osDelay(10);
    }
}
void StartDefaultTask(void const * argument)
{
    MX_LWIP_Init();
    Eth_RxInit();
    App_PrintNetifInfo();
    printf("LWIP OK!\r\n");

    for(;;)
    {
    	  uint8_t eth_ok = 0U;
    	    uint32_t now = HAL_GetTick();
    	    const uint32_t timeout_ms = 2000U;

    	    App_UpdateEthLinkHealth();
    	    App_MaybeHardResetEthMetrics(now);

    	    // ← pridaj toto:
    	    Metrics_Age(&g_rx_bt, now, timeout_ms);
    	    Metrics_ApplyToLink(App_GetLink(LINK_BLUETOOTH), &g_rx_bt);
    	    /* if (Metrics_IsTimedOut(&g_rx_bt, now, timeout_ms))
    	    {
    	        link_info_t *bt_link = App_GetLink(LINK_BLUETOOTH);
    	        if (bt_link != NULL)
    	        {
    	            bt_link->state = LINK_STATE_DOWN;
    	            bt_link->metrics.measurement_valid = false;
    	            bt_link->metrics.delay_ms = 1000U;
    	            bt_link->metrics.jitter_ms = 0U;
    	            bt_link->metrics.packet_loss_permille = 1000U;
    	        }
    	        Metrics_Reset(&g_rx_bt);
    	    }*/
    	    Metrics_Reset(&g_rx_bt);
    	    if (!Metrics_IsTimedOut(&g_rx_direct, now, timeout_ms) ||
    	        !Metrics_IsTimedOut(&g_rx_plc, now, timeout_ms))
    	    {
    	        eth_ok = 1U;
    	    }

    	    App_UpdateRsPath(eth_ok);
    	    App_RunDecision();
    	    osDelay(100);
    }
}
void eth_taskENTRY(void const * argument)
{
  for(;;)
  {
    osDelay(1);
  }
}

 /* MPU Configuration */

void MPU_Config(void)
{
  MPU_Region_InitTypeDef MPU_InitStruct = {0};

  /* Disables the MPU */
  HAL_MPU_Disable();

  /** Initializes and configures the Region and the memory to be protected
  */
  MPU_InitStruct.Enable = MPU_REGION_ENABLE;
  MPU_InitStruct.Number = MPU_REGION_NUMBER0;
  MPU_InitStruct.BaseAddress = 0x0;
  MPU_InitStruct.Size = MPU_REGION_SIZE_4GB;
  MPU_InitStruct.SubRegionDisable = 0x87;
  MPU_InitStruct.TypeExtField = MPU_TEX_LEVEL0;
  MPU_InitStruct.AccessPermission = MPU_REGION_NO_ACCESS;
  MPU_InitStruct.DisableExec = MPU_INSTRUCTION_ACCESS_DISABLE;
  MPU_InitStruct.IsShareable = MPU_ACCESS_SHAREABLE;
  MPU_InitStruct.IsCacheable = MPU_ACCESS_NOT_CACHEABLE;
  MPU_InitStruct.IsBufferable = MPU_ACCESS_NOT_BUFFERABLE;

  HAL_MPU_ConfigRegion(&MPU_InitStruct);
  /* Enables the MPU */
  HAL_MPU_Enable(MPU_PRIVILEGED_DEFAULT);

}

void HAL_TIM_PeriodElapsedCallback(TIM_HandleTypeDef *htim)
{
  if (htim->Instance == TIM1)
  {
    HAL_IncTick();
  }
}

void Error_Handler(void)
{
  __disable_irq();
  while (1)
  {
  }
}
